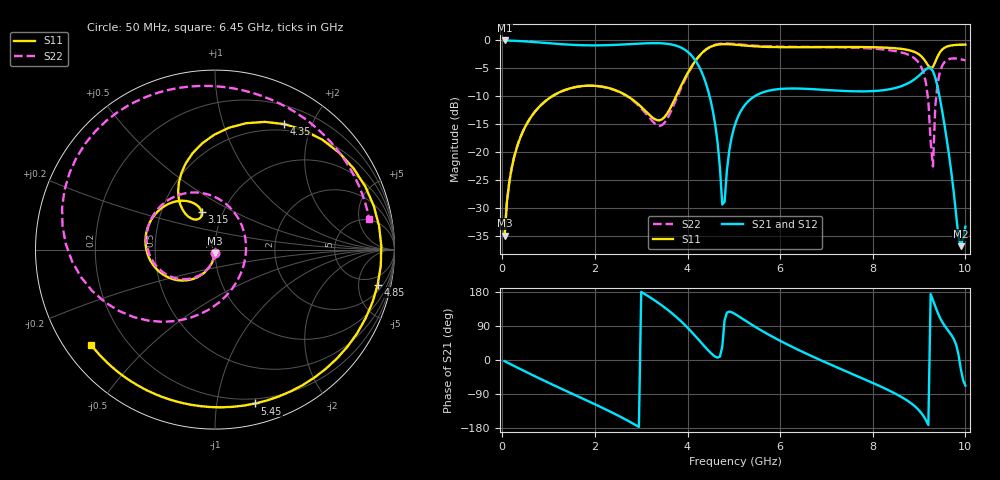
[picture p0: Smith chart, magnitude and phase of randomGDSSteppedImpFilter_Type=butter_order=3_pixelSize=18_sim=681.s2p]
! freq	dB(S11)	phase(S11)	dB(S12)	phase(S12)
!  dB(S21)	phase(S21)	dB(S22)	phase(S22)
!S-par simulation data
#  GHz  S  DB  R 50
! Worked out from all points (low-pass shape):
!   200 points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, 50 MHz to 10 GHz, reference 50 ohm
!   highest |S21| = 0.00 dB at 50 MHz (marker M1); lowest = -36.7 dB at 9.9 GHz (marker M2)
!   |S21| within 3 dB of the highest: start of sweep to 4.117 GHz
!   lowest |S11| = -34.8 dB at 50 MHz (marker M3), VSWR 1.04, Z = 49.9 - j1.81 ohm
!   |S11| at or under -10 dB: start of sweep to 1.071 GHz; 2.714 GHz to 3.752 GHz (1.039 GHz wide, 32.1 % of centre)
!   |S22| runs from -34.9 to -0.5 dB; largest |S21 - S12| = 0
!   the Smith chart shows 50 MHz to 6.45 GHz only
!   S11 on the Smith chart (normalised r, x): 50 MHz: 1.00, -0.04; 3.15 GHz: 0.79, +0.35; 4.35 GHz: 0.42, +1.61; 4.85 GHz: 3.01, -8.35; 5.45 GHz: 0.16, -1.28; 6.45 GHz: 0.08, -0.34
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0.05  -34.84 -92.9  -0.00 -3.1  -0.00 -3.1  -34.85 -93.1
0.2  -22.91 -102.3  -0.04 -12.4  -0.04 -12.4  -22.90 -103.0
0.5  -15.34 -120.4  -0.17 -30.7  -0.17 -30.7  -15.33 -121.9
1.75  -8.13 170.3  -0.86 -102.6  -0.86 -102.6  -8.14 163.6
3.15  -13.08 109.5  -0.50 168.5  -0.50 168.5  -13.54 49.0
3.4  -14.25 119.0  -0.50 148.0  -0.50 148.0  -15.24 -3.7
3.9  -7.47 118.4  -1.45 97.5  -1.45 97.5  -7.78 -110.6
4.35  -1.95 61.1  -6.56 38.2  -6.56 38.2  -1.95 -175.3
4.6  -0.84 22.7  -15.16 8.7  -15.16 8.7  -0.76 152.3
4.75  -0.66 1.2  -29.29 35.2  -29.29 35.2  -0.56 135.3
4.85  -0.66 -12.1  -23.21 125.0  -23.21 125.0  -0.55 125.1
5.05  -0.77 -36.2  -14.44 119.6  -14.44 119.6  -0.65 106.9
5.45  -1.05 -75.3  -9.96 88.3  -9.96 88.3  -0.94 76.4
6.45  -1.20 -142.4  -8.60 23.4  -8.60 23.4  -1.15 11.1
6.7  -1.19 -155.4  -8.70 9.2  -8.70 9.2  -1.16 -4.5
7.6  -1.17 163.1  -9.08 -39.2  -9.08 -39.2  -1.28 -60.2
8.35  -1.32 130.6  -8.74 -80.3  -8.74 -80.3  -1.73 -109.7
9.05  -2.85 97.7  -5.88 -140.2  -5.88 -140.2  -4.79 177.1
9.3  -4.70 107.9  -5.50 157.5  -5.50 157.5  -22.52 -48.7
9.45  -2.11 107.9  -10.36 111.9  -10.36 111.9  -5.61 -118.1
9.9  -0.76 77.7  -36.74 -23.3  -36.74 -23.3  -3.36 156.4
10  -0.75 72.3  -33.25 -67.5  -33.25 -67.5  -3.56 141.0
